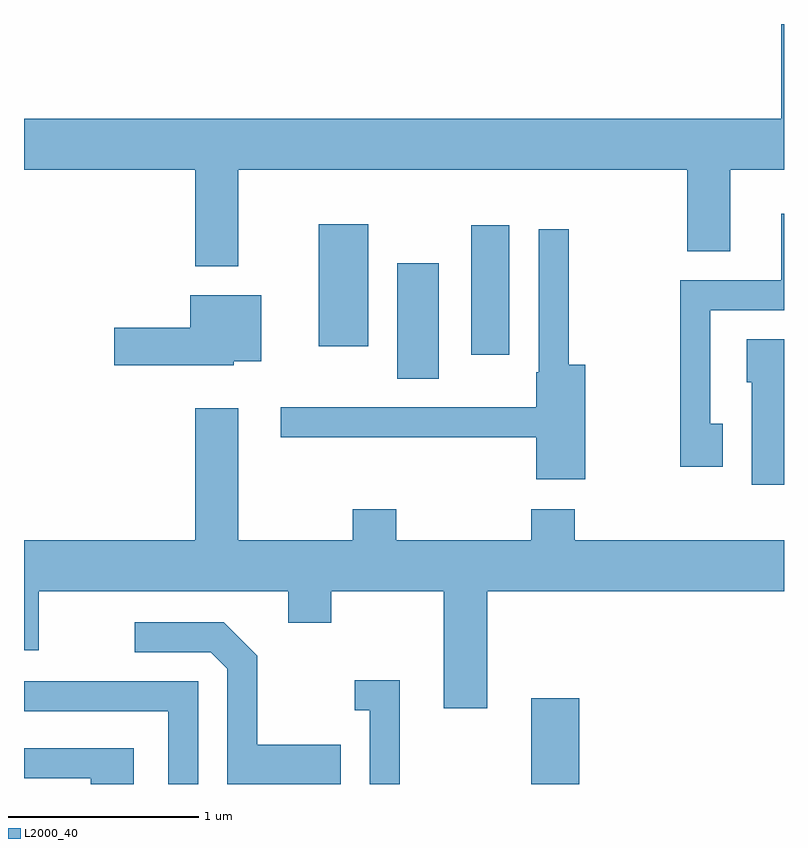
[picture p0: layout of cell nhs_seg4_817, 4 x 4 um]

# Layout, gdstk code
import gdstk
lib = gdstk.Library(unit=1e-6, precision=1e-09)
def R(c, l, rs):  # rectangles x0, y0, x1, y1
    for r in rs: c.add(gdstk.rectangle(r[:2], r[2:], *l))
def P(c, l, *ps):  # polygons
    for p in ps: c.add(gdstk.Polygon(p, *l))
L2000_40 = (2000, 40)

nhs_seg4_817 = lib.new_cell('nhs_seg4_817')
R(nhs_seg4_817, L2000_40, [(212.281,1255.982,212.534,1256.434), (211.576,1258.116,211.794,1258.724), (211.966,1258.241,212.164,1258.924), (211.161,1258.286,211.424,1258.929)])
P(nhs_seg4_817, L2000_40, [(210.739,1259.216),(213.101,1259.216),(213.101,1258.786),(213.329,1258.786),(213.329,1259.216),(213.611,1259.216),(213.611,1259.982),(213.596,1259.982),(213.596,1259.484),(209.611,1259.484),(209.611,1259.216),(210.511,1259.216),(210.511,1258.706),(210.739,1258.706)],
  [(213.289,1257.879),(213.224,1257.879),(213.224,1258.476),(213.611,1258.476),(213.611,1258.983),(213.596,1258.983),(213.596,1258.634),(213.066,1258.634),(213.066,1257.651),(213.289,1257.651)],
  [(212.564,1258.189),(212.479,1258.189),(212.479,1258.903),(212.321,1258.903),(212.321,1258.15),(212.306,1258.15),(212.306,1257.964),(210.963,1257.964),(210.963,1257.806),(212.306,1257.806),(212.306,1257.586),(212.564,1257.586)],
  [(210.714,1258.206),(210.859,1258.206),(210.859,1258.554),(210.486,1258.554),(210.486,1258.384),(210.086,1258.384),(210.086,1258.186),(210.714,1258.186)],
  [(213.611,1258.324),(213.416,1258.324),(213.416,1258.096),(213.441,1258.096),(213.441,1257.556),(213.611,1257.556)],
  [(212.049,1256.996),(213.611,1256.996),(213.611,1257.264),(212.509,1257.264),(212.509,1257.429),(212.281,1257.429),(212.281,1257.264),(211.569,1257.264),(211.569,1257.429),(211.341,1257.429),(211.341,1257.264),(210.739,1257.264),(210.739,1257.959),(210.511,1257.959),(210.511,1257.264),(209.611,1257.264),(209.611,1256.686),(209.689,1256.686),(209.689,1256.996),(211.001,1256.996),(211.001,1256.831),(211.229,1256.831),(211.229,1256.996),(211.821,1256.996),(211.821,1256.381),(212.049,1256.381)],
  [(211.279,1256.189),(210.839,1256.189),(210.839,1256.657),(210.662,1256.834),(210.193,1256.834),(210.193,1256.676),(210.594,1256.676),(210.681,1256.589),(210.681,1255.982),(211.279,1255.982)],
  [(211.589,1256.529),(211.353,1256.529),(211.353,1256.371),(211.431,1256.371),(211.431,1255.982),(211.589,1255.982)],
  [(210.529,1256.524),(209.611,1256.524),(209.611,1256.366),(210.371,1256.366),(210.371,1255.982),(210.529,1255.982)],
  [(210.189,1256.169),(209.611,1256.169),(209.611,1256.011),(209.961,1256.011),(209.961,1255.982),(210.189,1255.982)])

lib.write_gds('nhs_seg4_817.gds')
